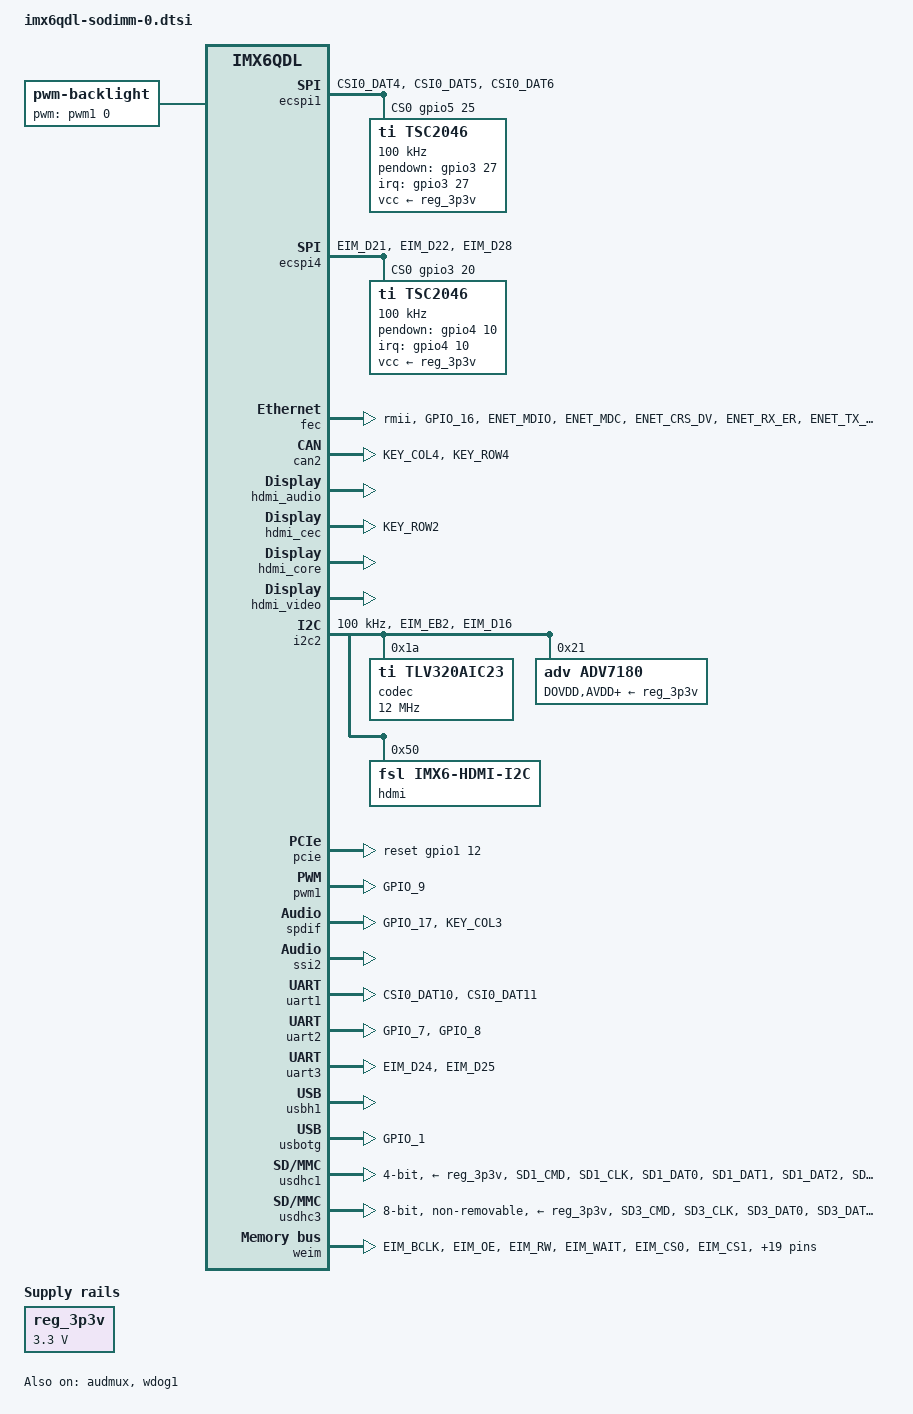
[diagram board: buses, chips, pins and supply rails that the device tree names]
/*
 * Copyright 2014 starterkit.ru
 *
 * The code contained herein is licensed under the GNU General Public
 * License V2.
 */

#include <dt-bindings/gpio/gpio.h>
#include <dt-bindings/input/input.h>
#include "imx6qdl-lvds-1024x768-1024x768.dtsi"

/ {
	aliases {
		mxcfb0 = &mxcfb1;
		mxcfb1 = &mxcfb2;
	};

	backlight {
		compatible = "pwm-backlight";
		pwms = <&pwm1 0 5000000>;
		brightness-levels = <0 4 8 16 32 64 128 255>;
		default-brightness-level = <7>;
	};

	regulators {
		compatible = "simple-bus";
		#address-cells = <1>;
		#size-cells = <0>;

		reg_3p3v: regulator@0 {
			compatible = "regulator-fixed";
			regulator-name = "3P3V";
			regulator-min-microvolt = <3300000>;
			regulator-max-microvolt = <3300000>;
			regulator-always-on;
		};
	};

	mxcfb1: fb@0 {
		compatible = "fsl,mxc_sdc_fb";
		disp_dev = "ldb";
		interface_pix_fmt = "RGB24";
		default_bpp = <16>;
		int_clk = <0>;
		late_init = <0>;
		status = "disabled";
	};

	mxcfb2: fb@1 {
		compatible = "fsl,mxc_sdc_fb";
		disp_dev = "hdmi";
		interface_pix_fmt = "RGB24";
		mode_str = "1280x720M@60";
		default_bpp = <16>;
		int_clk = <0>;
		late_init = <0>;
		status = "disabled";
	};

	lcd@0 {
		compatible = "fsl,lcd";
		ipu_id = <0>;
		disp_id = <0>;
		default_ifmt = "RGB24";
		pinctrl-names = "default";
		pinctrl-0 = <&pinctrl_ipu1_disp_sodimm>;
		status = "okay";
	};

	sound {
		compatible = "fsl,imx-audio-tlv320";
		model = "imx-tlv320";
		ssi-controller = <&ssi2>;
		audio-codec = <&codec>;
		audio-routing =
			"MICIN", "Mic Jack",
			"Headphone Jack", "LHPOUT",
			"Headphone Jack", "RHPOUT";
		mux-int-port = <2>;
		mux-ext-port = <5>;
	};

	sound-hdmi {
		compatible = "fsl,imx6q-audio-hdmi",
			     "fsl,imx-audio-hdmi";
		model = "imx-audio-hdmi";
		hdmi-controller = <&hdmi_audio>;
	};

	sound-spdif {
		compatible = "fsl,imx-audio-spdif",
				"fsl,imx-sabreauto-spdif";
		model = "imx-spdif";
		spdif-controller = <&spdif>;
		spdif-out;
		spdif-in;
	};

	v4l2_cap_0 {
		compatible = "fsl,imx6q-v4l2-capture";
		ipu_id = <0>;
		csi_id = <0>;
		mclk_source = <0>;
		ain_num = <1>;
		status = "okay";
	};
	
	v4l2_out {
		compatible = "fsl,mxc_v4l2_output";
		status = "okay";
	};
};

&audmux {
	pinctrl-names = "default";
	pinctrl-0 = <&pinctrl_audmux_sodimm>;
	status = "okay";
};

&cpu0 {
	arm-supply = <&reg_arm>;
	soc-supply = <&reg_soc>;
};

&ecspi1 {
	fsl,spi-num-chipselects = <1>;
	cs-gpios = <&gpio5 25 0>;
	pinctrl-names = "default";
	pinctrl-0 = <&pinctrl_ecspi1_sodimm>;
	status = "okay";

	tsc2046@0 {
		compatible = "ti,tsc2046";
		reg = <0>;
		spi-max-frequency = <100000>;
		/* pen irq is GPIO3_27 */
		interrupt-parent = <&gpio3>;
		interrupts = <27 0x2>;
		pendown-gpio = <&gpio3 27 0>;
		vcc-supply = <&reg_3p3v>;

		ti,debounce-max = /bits/ 16 <5>;
		ti,debounce-tol = /bits/ 16 <10>;
		ti,debounce-rep = /bits/ 16 <0>;

		linux,wakeup;
	};
};

&ecspi4 {
	fsl,spi-num-chipselects = <1>;
	cs-gpios = <&gpio3 20 0>;
	pinctrl-names = "default";
	pinctrl-0 = <&pinctrl_ecspi4_sodimm>;
	status = "okay";

	tsc2046@0 {
		compatible = "ti,tsc2046";
		reg = <0>;
		spi-max-frequency = <100000>;
		/* pen irq is GPIO4_10 */
		interrupt-parent = <&gpio4>;
		interrupts = <10 0x2>;
		pendown-gpio = <&gpio4 10 0>;
		vcc-supply = <&reg_3p3v>;

		ti,debounce-max = /bits/ 16 <5>;
		ti,debounce-tol = /bits/ 16 <10>;
		ti,debounce-rep = /bits/ 16 <0>;

		linux,wakeup;
	};
};

&fec {
	pinctrl-names = "default";
	pinctrl-0 = <&pinctrl_enet_sodimm>;
	phy-mode = "rmii";
	phy-reset-gpios = <&gpio1 23 0>;
	fsl,magic-packet;
	status = "okay";
};

&can1 {
	pinctrl-names = "default";
	pinctrl-0 = <&pinctrl_flexcan1_sodimm>; /* pin conflict with  LVDS0 TS PENIRQ */
	status = "disabled";
};

&can2 {
	pinctrl-names = "default";
	pinctrl-0 = <&pinctrl_flexcan2_sodimm>;
	status = "okay";
};

&gpc {
	fsl,ldo-bypass = <0>;
	fsl,wdog-reset = <1>;
};

&hdmi_audio {
	status = "okay";
};

&hdmi_cec {
	pinctrl-names = "default";
	pinctrl-0 = <&pinctrl_hdmi_cec_sodimm>;
	status = "okay";
};

&hdmi_core {
	ipu_id = <0>;
	disp_id = <1>;
	status = "okay";
};

&hdmi_video {
	fsl,phy_reg_vlev = <0x0294>;
	fsl,phy_reg_cksymtx = <0x800d>;
	status = "okay";
};

&i2c2 {
	clock-frequency = <100000>;
	pinctrl-names = "default";
	pinctrl-0 = <&pinctrl_i2c2_sodimm>;
	status = "okay";

	codec: tlv320aic23@1a {
		compatible = "ti,tlv320aic23";
		reg = <0x1a>;
		clocks = <&clks 200>;
		clock-frequency = <12000000>;
	};

	adv7180: adv7180@21 {
		compatible = "adv,adv7180";
		reg = <0x21>;
		pinctrl-names = "default";
		pinctrl-0 = <&pinctrl_ipu1_csi_sodimm>;
		clocks = <&clks 201>;
		clock-names = "csi_mclk";
		DOVDD-supply = <&reg_3p3v>;
		AVDD-supply = <&reg_3p3v>;
		DVDD-supply = <&reg_3p3v>;
		PVDD-supply = <&reg_3p3v>;
		csi_id = <0>;
		mclk = <24000000>;
		mclk_source = <0>;
		cvbs = <1>;
		cam_std = <0>; /* 0 - PAL(default), 1 - NTSC J , 2 - NTSC M */
	};
	
	hdmi: edid@50 {
		compatible = "fsl,imx6-hdmi-i2c";
		reg = <0x50>;
	};
};

&iomuxc {
	pinctrl-names = "default";
	pinctrl-0 = <&pinctrl_hog>;

	hog {
		pinctrl_hog: hoggrp {
			fsl,pins = <
				/* AUDIO_MCLK */
				MX6QDL_PAD_NANDF_CS2__CCM_CLKO2             0x80000000
				/* ECSPI1 CS0 */
				MX6QDL_PAD_CSI0_DAT7__GPIO5_IO25            0x80000000
				/* ECSPI4 CS0 */
				MX6QDL_PAD_EIM_D20__GPIO3_IO20              0x80000000
				/* LVDS0 TS PENIRQ */
				MX6QDL_PAD_KEY_COL2__GPIO4_IO10             0x80000000
				/* LVDS1 TS PENIRQ */
				MX6QDL_PAD_EIM_D27__GPIO3_IO27              0x80000000
				/* PHY Reset */
				MX6QDL_PAD_ENET_REF_CLK__GPIO1_IO23         0x80000000
				/* SD1 CD */
				MX6QDL_PAD_SD2_CLK__GPIO1_IO10              0x80000000
				/* mPCIe reset */
				MX6QDL_PAD_SD2_DAT3__GPIO1_IO12             0x80000000
				/* GPIO */
				MX6QDL_PAD_EIM_A22__GPIO2_IO16              0x80000000
				MX6QDL_PAD_SD2_CMD__GPIO1_IO11              0x80000000
				MX6QDL_PAD_SD2_DAT2__GPIO1_IO13             0x80000000
				MX6QDL_PAD_SD2_DAT1__GPIO1_IO14             0x80000000
				MX6QDL_PAD_SD2_DAT0__GPIO1_IO15             0x80000000
			>;
		};
	};

	audmux {
		pinctrl_audmux_sodimm: audmux-sodimm {
			fsl,pins = <
				MX6QDL_PAD_KEY_COL0__AUD5_TXC               0x130b0
				MX6QDL_PAD_KEY_ROW0__AUD5_TXD               0x130b0
				MX6QDL_PAD_KEY_COL1__AUD5_TXFS              0x130b0
				MX6QDL_PAD_KEY_ROW1__AUD5_RXD               0x130b0
			>;
		};
	};

	ecspi1 {
		pinctrl_ecspi1_sodimm: ecspi1-sodimm {
			fsl,pins = <
				MX6QDL_PAD_CSI0_DAT4__ECSPI1_SCLK           0x100b1
				MX6QDL_PAD_CSI0_DAT5__ECSPI1_MOSI           0x100b1
				MX6QDL_PAD_CSI0_DAT6__ECSPI1_MISO           0x100b1
			>;
		};
	};

	ecspi4 {
		pinctrl_ecspi4_sodimm: ecspi4-sodimm {
			fsl,pins = <
				MX6QDL_PAD_EIM_D21__ECSPI4_SCLK             0x100b1
				MX6QDL_PAD_EIM_D22__ECSPI4_MISO             0x100b1
				MX6QDL_PAD_EIM_D28__ECSPI4_MOSI             0x100b1
			>;
		};
	};

	fec {
		pinctrl_enet_sodimm: enet-sodimm {
			fsl,pins = <
				MX6QDL_PAD_GPIO_16__ENET_REF_CLK            0x4001b0b0
				MX6QDL_PAD_ENET_MDIO__ENET_MDIO             0x1b0b0
				MX6QDL_PAD_ENET_MDC__ENET_MDC               0x1b0b0
				MX6QDL_PAD_ENET_CRS_DV__ENET_RX_EN          0x1b0b0
				MX6QDL_PAD_ENET_RX_ER__ENET_RX_ER           0x1b0b0
				MX6QDL_PAD_ENET_TX_EN__ENET_TX_EN           0x1b0b0
				MX6QDL_PAD_ENET_RXD0__ENET_RX_DATA0         0x1b0b0
				MX6QDL_PAD_ENET_RXD1__ENET_RX_DATA1         0x1b0b0
				MX6QDL_PAD_ENET_TXD0__ENET_TX_DATA0         0x1b0b0
				MX6QDL_PAD_ENET_TXD1__ENET_TX_DATA1         0x1b0b0
			>;
		};
	};

	flexcan1 {
		pinctrl_flexcan1_sodimm: flexcan1-sodimm {
			fsl,pins = <
				MX6QDL_PAD_KEY_COL2__FLEXCAN1_TX            0x80000000
				MX6QDL_PAD_KEY_ROW2__FLEXCAN1_RX            0x80000000
			>;
		};
	};

	flexcan2 {
		pinctrl_flexcan2_sodimm: flexcan2-sodimm {
			fsl,pins = <
				MX6QDL_PAD_KEY_COL4__FLEXCAN2_TX            0x80000000
				MX6QDL_PAD_KEY_ROW4__FLEXCAN2_RX            0x80000000
			>;
		};
	};

	gpmi-nand {
		pinctrl_gpmi_nand_sodimm: gpmi-nand-sodimm {
			fsl,pins = <
				MX6QDL_PAD_NANDF_CLE__NAND_CLE              0xb0b1
				MX6QDL_PAD_NANDF_ALE__NAND_ALE              0xb0b1
				MX6QDL_PAD_NANDF_WP_B__NAND_WP_B            0xb0b1
				MX6QDL_PAD_NANDF_RB0__NAND_READY_B          0xb000
				MX6QDL_PAD_NANDF_CS0__NAND_CE0_B            0xb0b1
				MX6QDL_PAD_NANDF_CS1__NAND_CE1_B            0xb0b1
				MX6QDL_PAD_SD4_CMD__NAND_RE_B               0xb0b1
				MX6QDL_PAD_SD4_CLK__NAND_WE_B               0xb0b1
				MX6QDL_PAD_NANDF_D0__NAND_DATA00            0xb0b1
				MX6QDL_PAD_NANDF_D1__NAND_DATA01            0xb0b1
				MX6QDL_PAD_NANDF_D2__NAND_DATA02            0xb0b1
				MX6QDL_PAD_NANDF_D3__NAND_DATA03            0xb0b1
				MX6QDL_PAD_NANDF_D4__NAND_DATA04            0xb0b1
				MX6QDL_PAD_NANDF_D5__NAND_DATA05            0xb0b1
				MX6QDL_PAD_NANDF_D6__NAND_DATA06            0xb0b1
				MX6QDL_PAD_NANDF_D7__NAND_DATA07            0xb0b1
				MX6QDL_PAD_SD4_DAT0__NAND_DQS               0x00b1
			>;
		};
	};

	hdmi_cec {
		pinctrl_hdmi_cec_sodimm: hdmi-cec-sodimm {
			fsl,pins = <
				MX6QDL_PAD_KEY_ROW2__HDMI_TX_CEC_LINE       0x1f8b0
			>;
		};
	};

	i2c2 {
		pinctrl_i2c2_sodimm: i2c2-sodimm {
			fsl,pins = <
				MX6QDL_PAD_EIM_EB2__I2C2_SCL                0x4001b8b1
				MX6QDL_PAD_EIM_D16__I2C2_SDA                0x4001b8b1
			>;
		};
	};

	i2c3 {
		pinctrl_i2c3_sodimm: i2c3-sodimm {
			fsl,pins = <
				MX6QDL_PAD_EIM_D17__I2C3_SCL                0x4001b8b1
				MX6QDL_PAD_EIM_D18__I2C3_SDA                0x4001b8b1
			>;
		};
	};

	ipu1 {
		pinctrl_ipu1_csi_sodimm: ipu1-csi-sodimm {
			fsl,pins = <
				MX6QDL_PAD_CSI0_DAT12__IPU1_CSI0_DATA12     0x80000000
				MX6QDL_PAD_CSI0_DAT13__IPU1_CSI0_DATA13     0x80000000
				MX6QDL_PAD_CSI0_DAT14__IPU1_CSI0_DATA14     0x80000000
				MX6QDL_PAD_CSI0_DAT15__IPU1_CSI0_DATA15     0x80000000
				MX6QDL_PAD_CSI0_DAT16__IPU1_CSI0_DATA16     0x80000000
				MX6QDL_PAD_CSI0_DAT17__IPU1_CSI0_DATA17     0x80000000
				MX6QDL_PAD_CSI0_DAT18__IPU1_CSI0_DATA18     0x80000000
				MX6QDL_PAD_CSI0_DAT19__IPU1_CSI0_DATA19     0x80000000
				MX6QDL_PAD_CSI0_PIXCLK__IPU1_CSI0_PIXCLK    0x80000000
				MX6QDL_PAD_CSI0_MCLK__IPU1_CSI0_HSYNC       0x80000000
				MX6QDL_PAD_CSI0_VSYNC__IPU1_CSI0_VSYNC      0x80000000
			>;
		};

		pinctrl_ipu1_disp_sodimm: ipu1-disp-sodimm {
			fsl,pins = <
				MX6QDL_PAD_DI0_DISP_CLK__IPU1_DI0_DISP_CLK  0x10
				MX6QDL_PAD_DI0_PIN15__IPU1_DI0_PIN15        0x10
				MX6QDL_PAD_DI0_PIN2__IPU1_DI0_PIN02         0x10
				MX6QDL_PAD_DI0_PIN3__IPU1_DI0_PIN03         0x10
				MX6QDL_PAD_DI0_PIN4__IPU1_DI0_PIN04         0x80000000
				MX6QDL_PAD_DISP0_DAT0__IPU1_DISP0_DATA00    0x10
				MX6QDL_PAD_DISP0_DAT1__IPU1_DISP0_DATA01    0x10
				MX6QDL_PAD_DISP0_DAT2__IPU1_DISP0_DATA02    0x10
				MX6QDL_PAD_DISP0_DAT3__IPU1_DISP0_DATA03    0x10
				MX6QDL_PAD_DISP0_DAT4__IPU1_DISP0_DATA04    0x10
				MX6QDL_PAD_DISP0_DAT5__IPU1_DISP0_DATA05    0x10
				MX6QDL_PAD_DISP0_DAT6__IPU1_DISP0_DATA06    0x10
				MX6QDL_PAD_DISP0_DAT7__IPU1_DISP0_DATA07    0x10
				MX6QDL_PAD_DISP0_DAT8__IPU1_DISP0_DATA08    0x10
				MX6QDL_PAD_DISP0_DAT9__IPU1_DISP0_DATA09    0x10
				MX6QDL_PAD_DISP0_DAT10__IPU1_DISP0_DATA10   0x10
				MX6QDL_PAD_DISP0_DAT11__IPU1_DISP0_DATA11   0x10
				MX6QDL_PAD_DISP0_DAT12__IPU1_DISP0_DATA12   0x10
				MX6QDL_PAD_DISP0_DAT13__IPU1_DISP0_DATA13   0x10
				MX6QDL_PAD_DISP0_DAT14__IPU1_DISP0_DATA14   0x10
				MX6QDL_PAD_DISP0_DAT15__IPU1_DISP0_DATA15   0x10
				MX6QDL_PAD_DISP0_DAT16__IPU1_DISP0_DATA16   0x10
				MX6QDL_PAD_DISP0_DAT17__IPU1_DISP0_DATA17   0x10
				MX6QDL_PAD_DISP0_DAT18__IPU1_DISP0_DATA18   0x10
				MX6QDL_PAD_DISP0_DAT19__IPU1_DISP0_DATA19   0x10
				MX6QDL_PAD_DISP0_DAT20__IPU1_DISP0_DATA20   0x10
				MX6QDL_PAD_DISP0_DAT21__IPU1_DISP0_DATA21   0x10
				MX6QDL_PAD_DISP0_DAT22__IPU1_DISP0_DATA22   0x10
				MX6QDL_PAD_DISP0_DAT23__IPU1_DISP0_DATA23   0x10
			>;
		};
	};

	pwm1 {
		pinctrl_pwm1_sodimm: pwm1-sodimm {
			fsl,pins = <
				MX6QDL_PAD_GPIO_9__PWM1_OUT                 0x1b0b1
			>;
		};
	};

	pwm4 {
		pinctrl_pwm4_sodimm: pwm4-sodimm {
			fsl,pins = <
				MX6QDL_PAD_SD4_DAT2__PWM4_OUT               0x1b0b1
			>;
		};
	};

	spdif {
		pinctrl_spdif_sodimm: spdif-sodimm {
			fsl,pins = <
				MX6QDL_PAD_GPIO_17__SPDIF_OUT               0x1b0b0
				MX6QDL_PAD_KEY_COL3__SPDIF_IN               0x1b0b0
			>;
		};
	};

	uart1 {
		pinctrl_uart1_sodimm: uart1-sodimm {
			fsl,pins = <
				MX6QDL_PAD_CSI0_DAT10__UART1_TX_DATA        0x1b0b1
				MX6QDL_PAD_CSI0_DAT11__UART1_RX_DATA        0x1b0b1
			>;
		};
	};

	uart2 {
		pinctrl_uart2_sodimm: uart2-sodimm {
			fsl,pins = <
				MX6QDL_PAD_GPIO_7__UART2_TX_DATA            0x1b0b1
				MX6QDL_PAD_GPIO_8__UART2_RX_DATA            0x1b0b1
			>;
		};
	};

	uart3 {
		pinctrl_uart3_sodimm: uart3-sodimm {
			fsl,pins = <
				MX6QDL_PAD_EIM_D24__UART3_TX_DATA           0x1b0b1
				MX6QDL_PAD_EIM_D25__UART3_RX_DATA           0x1b0b1
			>;
		};
	};

	usbotg {
		pinctrl_usbotg_sodimm: usbotg-sodimm {
			fsl,pins = <
				MX6QDL_PAD_GPIO_1__USB_OTG_ID               0x17059
			>;
		};
	};

	usdhc1 {
		pinctrl_usdhc1_sodimm: usdhc1-sodimm {
			fsl,pins = <
				MX6QDL_PAD_SD1_CMD__SD1_CMD                 0x17071
				MX6QDL_PAD_SD1_CLK__SD1_CLK                 0x10071
				MX6QDL_PAD_SD1_DAT0__SD1_DATA0              0x17071
				MX6QDL_PAD_SD1_DAT1__SD1_DATA1              0x17071
				MX6QDL_PAD_SD1_DAT2__SD1_DATA2              0x17071
				MX6QDL_PAD_SD1_DAT3__SD1_DATA3              0x17071
			>;
		};
	};

	usdhc3 {
		pinctrl_usdhc3_sodimm: usdhc3-sodimm {
			fsl,pins = <
				MX6QDL_PAD_SD3_CMD__SD3_CMD                 0x17059
				MX6QDL_PAD_SD3_CLK__SD3_CLK                 0x10059
				MX6QDL_PAD_SD3_DAT0__SD3_DATA0              0x17059
				MX6QDL_PAD_SD3_DAT1__SD3_DATA1              0x17059
				MX6QDL_PAD_SD3_DAT2__SD3_DATA2              0x17059
				MX6QDL_PAD_SD3_DAT3__SD3_DATA3              0x17059
				MX6QDL_PAD_SD3_DAT4__SD3_DATA4              0x17059
				MX6QDL_PAD_SD3_DAT5__SD3_DATA5              0x17059
				MX6QDL_PAD_SD3_DAT6__SD3_DATA6              0x17059
				MX6QDL_PAD_SD3_DAT7__SD3_DATA7              0x17059
			>;
		};
	};

	usdhc3 {
		pinctrl_usdhc3_100mhz_sodimm: usdhc3-100mhz-sodimm {
			fsl,pins = <
				MX6QDL_PAD_SD3_CMD__SD3_CMD                 0x170B9
				MX6QDL_PAD_SD3_CLK__SD3_CLK                 0x100B9
				MX6QDL_PAD_SD3_DAT0__SD3_DATA0              0x170B9
				MX6QDL_PAD_SD3_DAT1__SD3_DATA1              0x170B9
				MX6QDL_PAD_SD3_DAT2__SD3_DATA2              0x170B9
				MX6QDL_PAD_SD3_DAT3__SD3_DATA3              0x170B9
				MX6QDL_PAD_SD3_DAT4__SD3_DATA4              0x170B9
				MX6QDL_PAD_SD3_DAT5__SD3_DATA5              0x170B9
				MX6QDL_PAD_SD3_DAT6__SD3_DATA6              0x170B9
				MX6QDL_PAD_SD3_DAT7__SD3_DATA7              0x170B9
			>;
		};
	};

	weim {
		pinctrl_weim_sodimm: weim-sodimm {
			fsl,pins = <
				MX6QDL_PAD_EIM_BCLK__EIM_BCLK               0x1bb1
				MX6QDL_PAD_EIM_OE__EIM_OE_B                 0xb0b1
				MX6QDL_PAD_EIM_RW__EIM_RW                   0xb0b1
				MX6QDL_PAD_EIM_WAIT__EIM_WAIT_B             0xb060
				MX6QDL_PAD_EIM_CS0__EIM_CS0_B               0xb0b1
				MX6QDL_PAD_EIM_CS1__EIM_CS1_B               0xb0b1
				MX6QDL_PAD_EIM_LBA__EIM_LBA_B               0xb0b1
				MX6QDL_PAD_EIM_EB0__EIM_EB0_B               0xb0b1
				MX6QDL_PAD_EIM_EB1__EIM_EB1_B               0xb0b1
				MX6QDL_PAD_EIM_DA15__EIM_AD15               0xb0b1
				MX6QDL_PAD_EIM_DA14__EIM_AD14               0xb0b1
				MX6QDL_PAD_EIM_DA13__EIM_AD13               0xb0b1
				MX6QDL_PAD_EIM_DA12__EIM_AD12               0xb0b1
				MX6QDL_PAD_EIM_DA11__EIM_AD11               0xb0b1
				MX6QDL_PAD_EIM_DA10__EIM_AD10               0xb0b1
				MX6QDL_PAD_EIM_DA9__EIM_AD09                0xb0b1
				MX6QDL_PAD_EIM_DA8__EIM_AD08                0xb0b1
				MX6QDL_PAD_EIM_DA7__EIM_AD07                0xb0b1
				MX6QDL_PAD_EIM_DA6__EIM_AD06                0xb0b1
				MX6QDL_PAD_EIM_DA5__EIM_AD05                0xb0b1
				MX6QDL_PAD_EIM_DA4__EIM_AD04                0xb0b1
				MX6QDL_PAD_EIM_DA3__EIM_AD03                0xb0b1
				MX6QDL_PAD_EIM_DA2__EIM_AD02                0xb0b1
				MX6QDL_PAD_EIM_DA1__EIM_AD01                0xb0b1
				MX6QDL_PAD_EIM_DA0__EIM_AD00                0xb0b1
			>;
		};
	};
};

&pcie {
	reset-gpio = <&gpio1 12 0>;
	status = "okay";
};

&pwm1 {
	pinctrl-names = "default";
	pinctrl-0 = <&pinctrl_pwm1_sodimm>;
	status = "okay";
};

&spdif {
	pinctrl-names = "default";
	pinctrl-0 = <&pinctrl_spdif_sodimm>;
	status = "okay";
};

&ssi2 {
	fsl,mode = "i2s-slave";
	status = "okay";
};

&uart1 {
	pinctrl-names = "default";
	pinctrl-0 = <&pinctrl_uart1_sodimm>;
	status = "okay";
};

&uart2 {
	pinctrl-names = "default";
	pinctrl-0 = <&pinctrl_uart2_sodimm>;
	status = "okay";
};

&uart3 {
	pinctrl-names = "default";
	pinctrl-0 = <&pinctrl_uart3_sodimm>;
	status = "okay";
};

&usbh1 {
	status = "okay";
};

&usbotg {
	pinctrl-names = "default";
	pinctrl-0 = <&pinctrl_usbotg_sodimm>;
	disable-over-current;
	status = "okay";
};

&usdhc1 {
	pinctrl-names = "default";
	pinctrl-0 = <&pinctrl_usdhc1_sodimm>;
	vmmc-supply = <&reg_3p3v>;
	keep-power-in-suspend;
	bus-width = <4>;
	no-1-8-v;
	status = "okay";
};

&usdhc3 {
	pinctrl-names = "default";
	pinctrl-0 = <&pinctrl_usdhc3_100mhz_sodimm>;
	vmmc-supply = <&reg_3p3v>;
	keep-power-in-suspend;
        bus-width = <8>;
        non-removable;
	no-1-8-v;
	status = "okay";
};

&wdog1 {
	status = "okay";
};

&wdog2 {
	status = "disabled";
};

&weim {
	pinctrl-names = "default";
	pinctrl-0 = <&pinctrl_weim_sodimm>;
	#address-cells = <2>;
	#size-cells = <1>;
	ranges = <0 0 0x08000000 0x08000000>;
	status = "okay";
};
